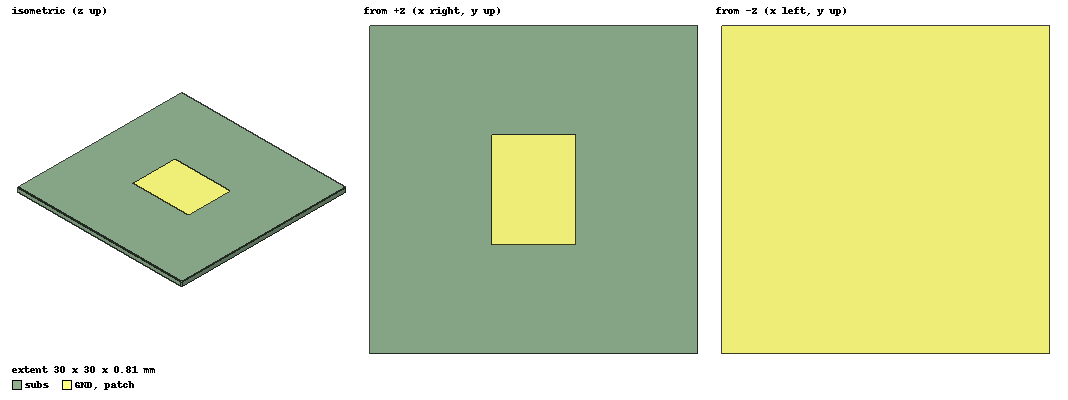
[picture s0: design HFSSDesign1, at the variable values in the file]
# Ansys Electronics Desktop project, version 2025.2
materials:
  vacuum: permittivity=1
  Rogers RO4003 (tm): permittivity=3.55 dielectric_loss_tangent=0.0027

design HFSSDesign1 (HFSS, HFSS Terminal Network, model units mm)
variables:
  Sub_l = 30mm
  sub_w = 30mm
  sub_th = 0.81mm
  patch_l = 7.66mm
  patch_w = 10.14mm
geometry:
  subs [Rogers RO4003 (tm)] = box(corner=(-Sub_l/2, -sub_w/2, -sub_th), size=(Sub_l, sub_w, sub_th))
  patch = rectangle(corner=(-patch_l/2, -patch_w/2, 0mm), x_size=patch_l, y_size=patch_w)
  GND = rectangle(corner=(-15mm, -15mm, -0.81mm), x_size=30mm, y_size=30mm)
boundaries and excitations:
  PerfE1: Perfect E Objects=GND
  PerfE2: Perfect E Objects=patch
